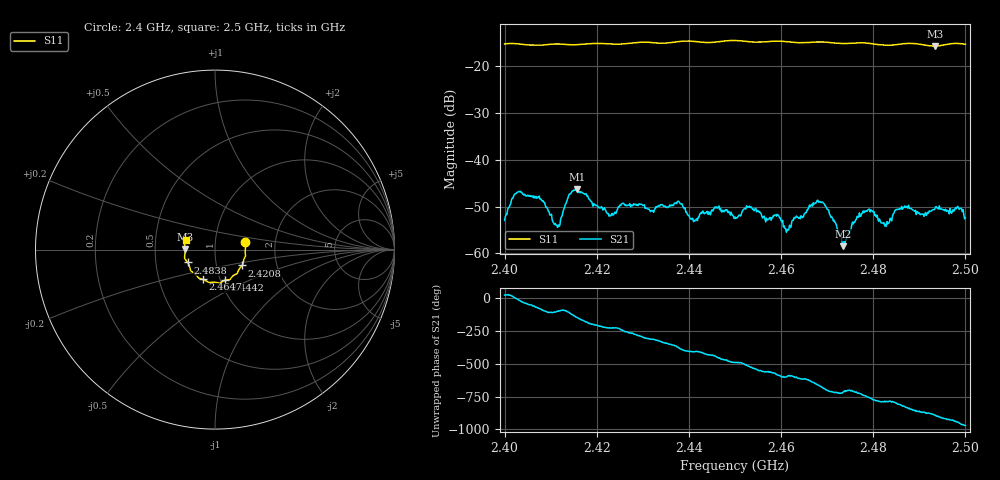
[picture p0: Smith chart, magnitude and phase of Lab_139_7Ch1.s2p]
# Hz S RI R 50
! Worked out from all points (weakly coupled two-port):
!   601 points, 2.4 GHz to 2.5 GHz, reference 50 ohm
!   highest |S21| = -46.29 dB at 2.4157 GHz (marker M1); lowest = -58.5 dB at 2.4735 GHz (marker M2)
!   lowest |S11| = -15.7 dB at 2.4935 GHz (marker M3), VSWR 1.39, Z = 35.8 + j0.196 ohm
!   |S11| at or under -10 dB: start of sweep to end of sweep
!   S12 and S22 are empty: the file has one direction only
!   S11 on the Smith chart (normalised r, x): 2.4 GHz: 1.40, +0.12; 2.4208 GHz: 1.33, -0.24; 2.4442 GHz: 1.05, -0.37; 2.4647 GHz: 0.83, -0.28; 2.4838 GHz: 0.73, -0.11; 2.5 GHz: 0.71, +0.08
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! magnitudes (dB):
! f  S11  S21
! 2.4 GHz  -15.2  -52.9
! 2.4033 GHz  -15.2  -46.9
! 2.408 GHz  -15.5  -48.6
! 2.4115 GHz  -15.2  -54.4
! 2.4157 GHz  -15.4  -46.3
! 2.4167 GHz  -15.3  -46.9
! 2.4208 GHz  -15.1  -50.3
! 2.4333 GHz  -15.0  -49.9
! 2.4413 GHz  -14.7  -53.0
! 2.4442 GHz  -14.9  -51.7
! 2.45 GHz  -14.5  -52.2
! 2.453 GHz  -14.7  -50.1
! 2.4612 GHz  -14.7  -55.5
! 2.4647 GHz  -14.9  -52.3
! 2.4667 GHz  -14.8  -49.5
! 2.4693 GHz  -14.8  -49.4
! 2.4735 GHz  -15.1  -58.5
! 2.4787 GHz  -15.0  -51.0
! 2.4833 GHz  -15.5  -53.5
! 2.4838 GHz  -15.5  -52.7
! 2.4935 GHz  -15.7  -50.1
! 2.5 GHz  -15.3  -52.3
